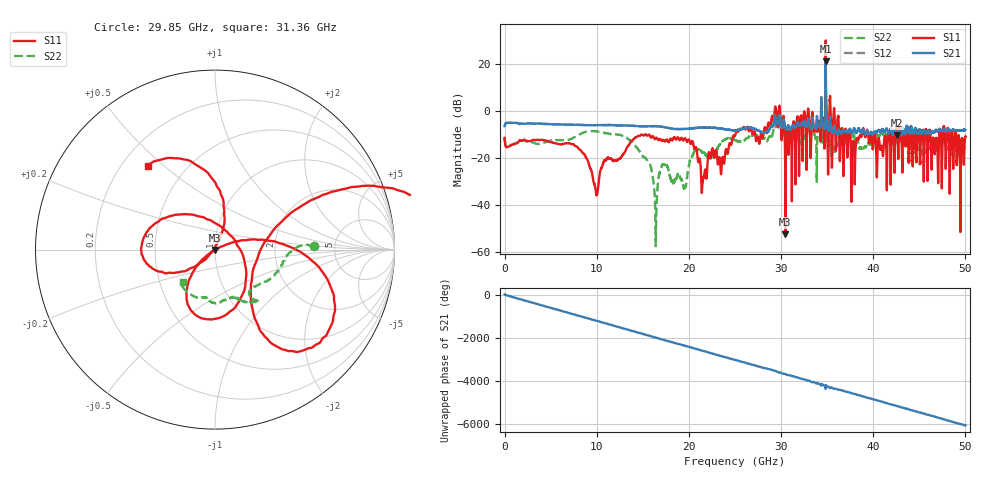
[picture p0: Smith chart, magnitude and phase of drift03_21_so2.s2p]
!Created with skrf (http://scikit-rf.org).
# Hz S RI R 50.0
!freq ReS11 ImS11 ReS21 ImS21 ReS12 ImS12 ReS22 ImS22
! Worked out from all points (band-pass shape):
!   10001 points, 300 kHz to 50 GHz, reference 50 ohm
!   highest |S21| = 21.15 dB at 34.85 GHz (marker M1); lowest = -10.4 dB at 42.56 GHz (marker M2)
!   |S21| within 3 dB of the highest: 34.84284 GHz to 34.8468 GHz (3.965 MHz wide, 0.0114 % of centre)
!   lowest |S11| = -52.5 dB at 30.47 GHz (marker M3), VSWR 1.00, Z = 49.9 - j0.217 ohm
!   |S11| at or under -10 dB: start of sweep to 15.23 GHz; 15.32 GHz to 25.05 GHz (9.733 GHz wide, 48.2 % of centre); 40.22 GHz to 41.64 GHz (1.42 GHz wide, 3.47 % of centre) (the widest 3 of 51)
!   |S22| runs from -57.5 to 12.6 dB; largest |S21 - S12| = 1.7
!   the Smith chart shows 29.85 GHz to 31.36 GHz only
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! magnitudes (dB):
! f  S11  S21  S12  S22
! 300 kHz  -11.5  -6.5  -6.4  -11.4
! 8.335 GHz  -17.1  -6.0  -6.0  -9.6
! 9.955 GHz  -35.5  -6.1  -6.1  -8.7
! 11 GHz  -20.9  -6.0  -6.0  -9.5
! 13.9 GHz  -12.4  -6.3  -6.3  -13.6
! 16.36 GHz  -11.9  -6.5  -6.5  -43.0
! 16.67 GHz  -12.4  -6.6  -6.5  -29.5
! 17.33 GHz  -12.7  -6.9  -6.9  -22.9
! 19.54 GHz  -11.7  -7.7  -7.7  -32.8
! 20.22 GHz  -13.9  -7.5  -7.5  -20.1
! 21.55 GHz  -28.5  -7.2  -7.2  -17.7
! 25 GHz  -10.6  -8.2  -8.2  -12.5
! 29.6 GHz  -5.6  -5.7  -5.9  -7.8
! 30.47 GHz  -52.5  -7.2  -7.2  -9.1
! 33.34 GHz  -3.8  -6.8  -6.8  -9.4
! 34.85 GHz  29.9  21.2  21.1  12.6
! 35.63 GHz  -5.8  -9.3  -9.2  -15.8
! 37.82 GHz  -12.8  -8.3  -8.4  -10.0
! 38.81 GHz  -9.3  -8.3  -8.3  -16.1
! 41.67 GHz  -9.5  -9.5  -9.4  -11.6
! 42.56 GHz  -8.4  -10.4  -10.5  -13.2
! 50 GHz  -10.8  -8.1  -8.3  -15.4
